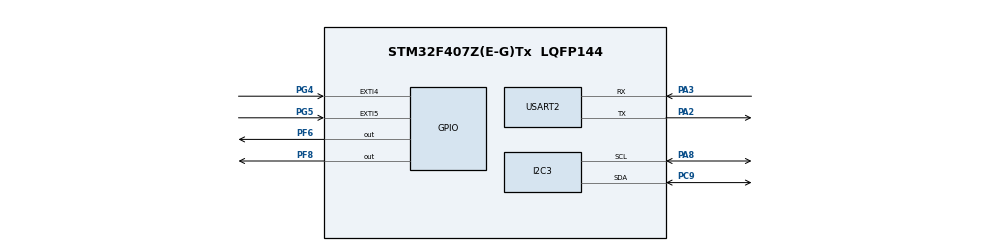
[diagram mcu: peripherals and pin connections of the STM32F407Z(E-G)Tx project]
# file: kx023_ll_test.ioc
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I2C3.I2C_Mode=I2C_Fast
Mcu.Family=STM32F4
Mcu.Name=STM32F407Z(E-G)Tx
Mcu.Package=LQFP144
NVIC.EXTI4_IRQn=true\:0\:0\:false\:false\:true\:true\:true\:true
NVIC.EXTI9_5_IRQn=true\:0\:0\:false\:false\:true\:true\:true\:true
NVIC.PriorityGroup=NVIC_PRIORITYGROUP_4
PA13.Mode=Serial_Wire
PA13.Signal=SYS_JTMS-SWDIO
PA14.Mode=Serial_Wire
PA14.Signal=SYS_JTCK-SWCLK
PA2.Mode=Asynchronous
PA2.Signal=USART2_TX
PA3.Mode=Asynchronous
PA3.Signal=USART2_RX
PA8.Mode=I2C
PA8.Signal=I2C3_SCL
PC9.Mode=I2C
PC9.Signal=I2C3_SDA
PF6.Signal=GPIO_Output
PF8.Signal=GPIO_Output
PG4.Signal=GPXTI4
PG5.Signal=GPXTI5
ProjectManager.HeapSize=0x200
ProjectManager.StackSize=0x400
ProjectManager.TargetToolchain=STM32CubeIDE
RCC.AHBFreq_Value=16000000
RCC.APB1Freq_Value=16000000
RCC.APB2Freq_Value=16000000
RCC.CortexFreq_Value=16000000
RCC.HSE_VALUE=25000000
RCC.HSI_VALUE=16000000
RCC.LSE_VALUE=32768
RCC.SYSCLKFreq_VALUE=16000000
RCC.VCOOutputFreq_Value=192000000
USART2.VirtualMode=VM_ASYNC
board=custom

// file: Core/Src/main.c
/* USER CODE BEGIN Header */
/**
  ******************************************************************************
  * @file           : main.c
  * @brief          : Main program body
  ******************************************************************************
  * @attention
  *
  * Copyright (c) 2025 STMicroelectronics.
  * All rights reserved.
  *
  * This software is licensed under terms that can be found in the LICENSE file
  * in the root directory of this software component.
  * If no LICENSE file comes with this software, it is provided AS-IS.
  *
  ******************************************************************************
  */
/* USER CODE END Header */
#include "main.h"

/* USER CODE BEGIN Includes */
#include "kx023_ll.h"
/* USER CODE END Includes */

/* USER CODE BEGIN PV */
KX023_Ctx_t kx023;
float x, y, z;
/* USER CODE END PV */

void SystemClock_Config(void);
static void MX_GPIO_Init(void);
static void MX_USART2_UART_Init(void);
static void MX_I2C3_Init(void);

/* USER CODE BEGIN 0 */
DirectionInfoParams_t tap_dir = {
        .x_negative = 1, .x_positive = 1,
        .y_negative = 1, .y_positive = 1,
        .z_negative = 1, .z_positive = 1
    };
/* USER CODE END 0 */

int main(void)
{

  /* MCU Configuration--------------------------------------------------------*/

  /* Reset of all peripherals, Initializes the Flash interface and the Systick. */
  LL_APB2_GRP1_EnableClock(LL_APB2_GRP1_PERIPH_SYSCFG);
  LL_APB1_GRP1_EnableClock(LL_APB1_GRP1_PERIPH_PWR);

  /* System interrupt init*/
  NVIC_SetPriorityGrouping(NVIC_PRIORITYGROUP_4);

  /* SysTick_IRQn interrupt configuration */
  NVIC_SetPriority(SysTick_IRQn, NVIC_EncodePriority(NVIC_GetPriorityGrouping(),15, 0));

  /* Configure the system clock */
  SystemClock_Config();

  /* Initialize all configured peripherals */
  MX_GPIO_Init();
  MX_USART2_UART_Init();
  MX_I2C3_Init();
  /* USER CODE BEGIN 2 */
  LL_GPIO_SetOutputPin(GPIOF, LL_GPIO_PIN_6);
  LL_GPIO_ResetOutputPin(GPIOF, LL_GPIO_PIN_8);
  LL_USART_TransmitData8(USART2, 'a');
  LL_USART_TransmitData8(USART2, 'a');
  LL_USART_TransmitData8(USART2, 'a');

	KX023_Init_I2C(&kx023, I2C3, KX023_DEFAULT_ADDR);

	if (KX023_Begin(&kx023) == KX023_STATUS_OK) {
		KX023_ConfigAsynchronousReadBack(&kx023, KX023_ACCLERATION_RANGE_2G, KX023_ODR_50HZ);
		KX023_ConfigActivateTapFunction(&kx023,
		                                    KX023_ACCLERATION_RANGE_2G,
		                                    KX023_DTODR_100HZ,
		                                    tap_dir,
		                                    KX023_TAP_MODE_SINGLE_TAP | KX023_TAP_MODE_DOUBLE_TAP);
		PhysicalInterruptParameter_t int_params = {
		        .polarity = KX023_INTERRUPT_POLARITY_ACTIVE_HIGH,
		        .signal_type = KX023_INTERRUPT_TYPE_PULSE,
		        .events.tap_function_interrupt = 1
		    };
		    KX023_ConfigPhysicalInterruptPin(&kx023, 1, int_params);
		KX023_SetOperatingMode(&kx023);
	} else {

		while(1);
	}
	LL_mDelay(50);
  /* USER CODE END 2 */

  /* Infinite loop */
  /* USER CODE BEGIN WHILE */
  while (1)
  {

  int status = KX023_ReadAsynchronousData(&kx023, &x, &y, &z);

//	  if (status == 1) { // OK
//
//	  } else if (status == -2) { // Timeout
//		  // LL_I2C_DeInit(I2C3); MX_I2C3_Init();
//	  }

  KX023_Interrupt_Type_t event = KX023_GetInterruptType(&kx023);

      if (event == KX023_INTERRUPT_SINGLE_TAP) {
    	  LL_USART_TransmitData8(USART2, 's');
          // پاک کردن پرچم اینتراپت برای تشخیص ضربه بعدی
          KX023_ClearInterrupt(&kx023);
      }
      else if (event == KX023_INTERRUPT_DOUBLE_TAP) {
    	  LL_USART_TransmitData8(USART2, 'd');
          KX023_ClearInterrupt(&kx023);
      }

	LL_mDelay(100);
    /* USER CODE END WHILE */

  }
}

void SystemClock_Config(void)
{
  LL_FLASH_SetLatency(LL_FLASH_LATENCY_0);
  while(LL_FLASH_GetLatency()!= LL_FLASH_LATENCY_0)
  {
  }
  LL_PWR_SetRegulVoltageScaling(LL_PWR_REGU_VOLTAGE_SCALE1);
  LL_RCC_HSI_SetCalibTrimming(16);
  LL_RCC_HSI_Enable();

   /* Wait till HSI is ready */
  while(LL_RCC_HSI_IsReady() != 1)
  {

  }
  LL_RCC_SetAHBPrescaler(LL_RCC_SYSCLK_DIV_1);
  LL_RCC_SetAPB1Prescaler(LL_RCC_APB1_DIV_1);
  LL_RCC_SetAPB2Prescaler(LL_RCC_APB2_DIV_1);
  LL_RCC_SetSysClkSource(LL_RCC_SYS_CLKSOURCE_HSI);

   /* Wait till System clock is ready */
  while(LL_RCC_GetSysClkSource() != LL_RCC_SYS_CLKSOURCE_STATUS_HSI)
  {

  }
  LL_Init1msTick(16000000);
  LL_SetSystemCoreClock(16000000);
}

static void MX_I2C3_Init(void)
{

  LL_I2C_InitTypeDef I2C_InitStruct = {0};

  LL_GPIO_InitTypeDef GPIO_InitStruct = {0};

  LL_AHB1_GRP1_EnableClock(LL_AHB1_GRP1_PERIPH_GPIOC);
  LL_AHB1_GRP1_EnableClock(LL_AHB1_GRP1_PERIPH_GPIOA);
  /**I2C3 GPIO Configuration
  PC9   ------> I2C3_SDA
  PA8   ------> I2C3_SCL
  */
  GPIO_InitStruct.Pin = LL_GPIO_PIN_9;
  GPIO_InitStruct.Mode = LL_GPIO_MODE_ALTERNATE;
  GPIO_InitStruct.Speed = LL_GPIO_SPEED_FREQ_VERY_HIGH;
  GPIO_InitStruct.OutputType = LL_GPIO_OUTPUT_OPENDRAIN;
  GPIO_InitStruct.Pull = LL_GPIO_PULL_NO;
  GPIO_InitStruct.Alternate = LL_GPIO_AF_4;
  LL_GPIO_Init(GPIOC, &GPIO_InitStruct);

  GPIO_InitStruct.Pin = LL_GPIO_PIN_8;
  GPIO_InitStruct.Mode = LL_GPIO_MODE_ALTERNATE;
  GPIO_InitStruct.Speed = LL_GPIO_SPEED_FREQ_VERY_HIGH;
  GPIO_InitStruct.OutputType = LL_GPIO_OUTPUT_OPENDRAIN;
  GPIO_InitStruct.Pull = LL_GPIO_PULL_NO;
  GPIO_InitStruct.Alternate = LL_GPIO_AF_4;
  LL_GPIO_Init(GPIOA, &GPIO_InitStruct);

  /* Peripheral clock enable */
  LL_APB1_GRP1_EnableClock(LL_APB1_GRP1_PERIPH_I2C3);

  /** I2C Initialization
  */
  LL_I2C_DisableOwnAddress2(I2C3);
  LL_I2C_DisableGeneralCall(I2C3);
  LL_I2C_EnableClockStretching(I2C3);
  I2C_InitStruct.PeripheralMode = LL_I2C_MODE_I2C;
  I2C_InitStruct.ClockSpeed = 400000;
  I2C_InitStruct.DutyCycle = LL_I2C_DUTYCYCLE_2;
  I2C_InitStruct.OwnAddress1 = 0;
  I2C_InitStruct.TypeAcknowledge = LL_I2C_ACK;
  I2C_InitStruct.OwnAddrSize = LL_I2C_OWNADDRESS1_7BIT;
  LL_I2C_Init(I2C3, &I2C_InitStruct);
  LL_I2C_SetOwnAddress2(I2C3, 0);

}

static void MX_USART2_UART_Init(void)
{

  LL_USART_InitTypeDef USART_InitStruct = {0};

  LL_GPIO_InitTypeDef GPIO_InitStruct = {0};

  /* Peripheral clock enable */
  LL_APB1_GRP1_EnableClock(LL_APB1_GRP1_PERIPH_USART2);

  LL_AHB1_GRP1_EnableClock(LL_AHB1_GRP1_PERIPH_GPIOA);
  /**USART2 GPIO Configuration
  PA2   ------> USART2_TX
  PA3   ------> USART2_RX
  */
  GPIO_InitStruct.Pin = LL_GPIO_PIN_2|LL_GPIO_PIN_3;
  GPIO_InitStruct.Mode = LL_GPIO_MODE_ALTERNATE;
  GPIO_InitStruct.Speed = LL_GPIO_SPEED_FREQ_VERY_HIGH;
  GPIO_InitStruct.OutputType = LL_GPIO_OUTPUT_PUSHPULL;
  GPIO_InitStruct.Pull = LL_GPIO_PULL_NO;
  GPIO_InitStruct.Alternate = LL_GPIO_AF_7;
  LL_GPIO_Init(GPIOA, &GPIO_InitStruct);

  USART_InitStruct.BaudRate = 115200;
  USART_InitStruct.DataWidth = LL_USART_DATAWIDTH_8B;
  USART_InitStruct.StopBits = LL_USART_STOPBITS_1;
  USART_InitStruct.Parity = LL_USART_PARITY_NONE;
  USART_InitStruct.TransferDirection = LL_USART_DIRECTION_TX_RX;
  USART_InitStruct.HardwareFlowControl = LL_USART_HWCONTROL_NONE;
  USART_InitStruct.OverSampling = LL_USART_OVERSAMPLING_16;
  LL_USART_Init(USART2, &USART_InitStruct);
  LL_USART_ConfigAsyncMode(USART2);
  LL_USART_Enable(USART2);

}

static void MX_GPIO_Init(void)
{
  LL_EXTI_InitTypeDef EXTI_InitStruct = {0};
  LL_GPIO_InitTypeDef GPIO_InitStruct = {0};

  /* GPIO Ports Clock Enable */
  LL_AHB1_GRP1_EnableClock(LL_AHB1_GRP1_PERIPH_GPIOF);
  LL_AHB1_GRP1_EnableClock(LL_AHB1_GRP1_PERIPH_GPIOA);
  LL_AHB1_GRP1_EnableClock(LL_AHB1_GRP1_PERIPH_GPIOG);
  LL_AHB1_GRP1_EnableClock(LL_AHB1_GRP1_PERIPH_GPIOC);

  /**/
  LL_GPIO_ResetOutputPin(GPIOF, LL_GPIO_PIN_6|LL_GPIO_PIN_8);

  /**/
  GPIO_InitStruct.Pin = LL_GPIO_PIN_6|LL_GPIO_PIN_8;
  GPIO_InitStruct.Mode = LL_GPIO_MODE_OUTPUT;
  GPIO_InitStruct.Speed = LL_GPIO_SPEED_FREQ_LOW;
  GPIO_InitStruct.OutputType = LL_GPIO_OUTPUT_PUSHPULL;
  GPIO_InitStruct.Pull = LL_GPIO_PULL_NO;
  LL_GPIO_Init(GPIOF, &GPIO_InitStruct);

  /**/
  LL_SYSCFG_SetEXTISource(LL_SYSCFG_EXTI_PORTG, LL_SYSCFG_EXTI_LINE4);

  /**/
  LL_SYSCFG_SetEXTISource(LL_SYSCFG_EXTI_PORTG, LL_SYSCFG_EXTI_LINE5);

  /**/
  EXTI_InitStruct.Line_0_31 = LL_EXTI_LINE_4;
  EXTI_InitStruct.LineCommand = ENABLE;
  EXTI_InitStruct.Mode = LL_EXTI_MODE_IT;
  EXTI_InitStruct.Trigger = LL_EXTI_TRIGGER_RISING;
  LL_EXTI_Init(&EXTI_InitStruct);

  /**/
  EXTI_InitStruct.Line_0_31 = LL_EXTI_LINE_5;
  EXTI_InitStruct.LineCommand = ENABLE;
  EXTI_InitStruct.Mode = LL_EXTI_MODE_IT;
  EXTI_InitStruct.Trigger = LL_EXTI_TRIGGER_RISING;
  LL_EXTI_Init(&EXTI_InitStruct);

  /**/
  LL_GPIO_SetPinPull(GPIOG, LL_GPIO_PIN_4, LL_GPIO_PULL_NO);

  /**/
  LL_GPIO_SetPinPull(GPIOG, LL_GPIO_PIN_5, LL_GPIO_PULL_NO);

  /**/
  LL_GPIO_SetPinMode(GPIOG, LL_GPIO_PIN_4, LL_GPIO_MODE_INPUT);

  /**/
  LL_GPIO_SetPinMode(GPIOG, LL_GPIO_PIN_5, LL_GPIO_MODE_INPUT);

  /* EXTI interrupt init*/
  NVIC_SetPriority(EXTI4_IRQn, NVIC_EncodePriority(NVIC_GetPriorityGrouping(),0, 0));
  NVIC_EnableIRQ(EXTI4_IRQn);
  NVIC_SetPriority(EXTI9_5_IRQn, NVIC_EncodePriority(NVIC_GetPriorityGrouping(),0, 0));
  NVIC_EnableIRQ(EXTI9_5_IRQn);

}

void Error_Handler(void)
{
  __disable_irq();
  while (1)
  {
  }
}
